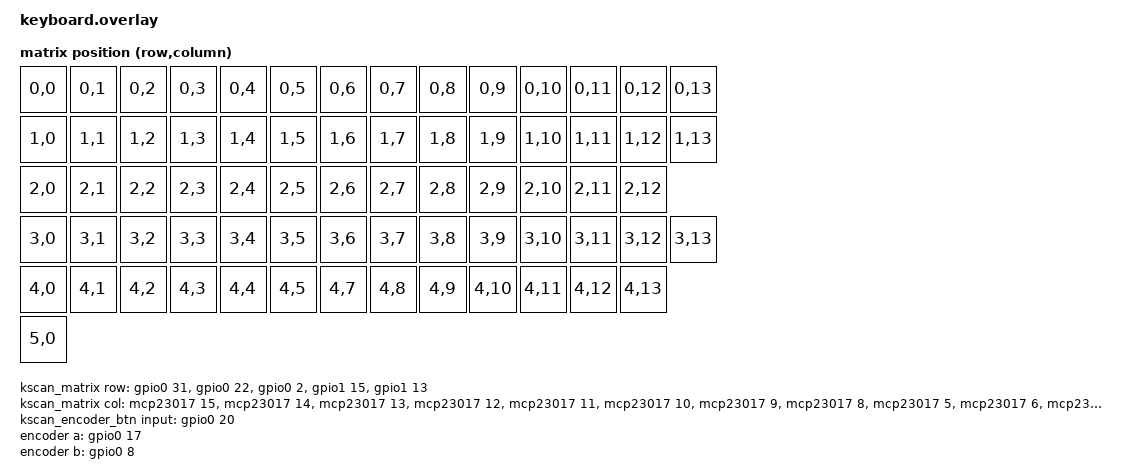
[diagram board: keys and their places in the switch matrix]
#include <dt-bindings/zmk/matrix_transform.h>
#include "keyboard-layouts.dtsi"  /* PRD §11 step 10: ZMK Studio physical layout */

/* PRD §11 step 2: real 5x14 matrix.
 * Rows are nRF GPIO inputs; columns are MCP23017 outputs driven over I2C.
 * Diode direction is col2row (verified from the PCB: each diode's cathode sits
 * on the ROW net, anode on the switch/column side -> current flows col->row).
 * Keeping the row inputs on the nRF lets GPIO sense wake the MCU from deep
 * sleep; the MCP23017 INT line is not wired to the nRF, so the expander must
 * stay on the output (strobe) side.
 *
 * PRD §11 step 5: EC11E encoder added.
 * - Rotation sensor: alps,ec11 on P0.17 (A) / P0.08 (B), steps=60
 * - Push button:     zmk,kscan-gpio-direct on P0.20 (active-low + pull-up)
 * - The matrix (rows 0-4) and push button (row 5) are merged via
 *   zmk,kscan-composite; the composite becomes the chosen zmk,kscan.
 * - Matrix transform gains a 69th key: RC(5,0) = encoder push.           */

/* ── UART0 pinctrl override ──────────────────────────────────────────────────
 * The board default uart0_default pinctrl claims P0.08 (UART_RX) and P0.06
 * (UART_TX) — P0.08 is our encoder B pin and P0.17 is our encoder A pin.
 * UART0 is disabled (no status="okay"), but its pinctrl state is still
 * registered and can prevent GPIO interrupt configuration on those pins.
 * Remap to internally unused pins so the encoder's GPIO interrupts work.    */
&uart0_default {
    group1 {
        psels = <NRF_PSEL(UART_RX, 0, 25)>;   /* dummy — not routed */
        bias-pull-up;
    };
    group2 {
        psels = <NRF_PSEL(UART_TX, 0, 25)>;   /* dummy — not routed */
    };
};

&uart0_sleep {
    group1 {
        psels = <NRF_PSEL(UART_RX, 0, 25)>,
                <NRF_PSEL(UART_TX, 0, 25)>;
        low-power-enable;
    };
};

/* ── SPI1 pinctrl override ────────────────────────────────────────────────────
 * The board's default spi1 pinctrl (SCK=P1.13, MOSI=P0.10, MISO=P1.11) uses
 * pins that are all occupied in this design (P1.13=ROW5, P0.10=nice!view SCK,
 * P1.11=nice!view MOSI). Override to our actual PCB wiring:
 *   MOSI = P1.11 (pad 22)   SCK = P0.10 (pad 23)   CS = P0.09 (pad 24, GPIO)
 * MISO is not connected (display is write-only). P0.25 is an internal nRF pin
 * not routed to any nice!nano pad; it is used here as a harmless dummy MISO so
 * the driver is satisfied without leaving the field empty.                   */
&spi1_default {
    group1 {
        psels = <NRF_PSEL(SPIM_MOSI, 1, 11)>,
                <NRF_PSEL(SPIM_SCK,  0, 10)>,
                <NRF_PSEL(SPIM_MISO, 0, 25)>;
    };
};

&spi1_sleep {
    group1 {
        psels = <NRF_PSEL(SPIM_MOSI, 1, 11)>,
                <NRF_PSEL(SPIM_SCK,  0, 10)>,
                <NRF_PSEL(SPIM_MISO, 0, 25)>;
        low-power-enable;
    };
};

/* Expose spi1 under the nice_view_spi alias that the nice_view shield requires.
 * Our keyboard.zmk.yml exposes [nice_view_header] so no adapter shield is needed.
 * CS is managed by the SPI controller via gpio: P0.09 (pad 24), active-high.  */
nice_view_spi: &spi1 {
    status = "okay";
    cs-gpios = <&gpio0 9 GPIO_ACTIVE_HIGH>;
};

/* ── I2C0 pinctrl override ───────────────────────────────────────────────────
 * Override the board's default I2C0 pins (P0.17/P0.20) so the encoder can use
 * those pins later. Hardware routes I2C to P1.07 (SDA) / P1.02 (SCL). No
 * external pull-ups on the bus, so enable the nRF internal ones. These extend
 * the existing board pinctrl states by label, replacing their psels.         */
&i2c0_default {
    group1 {
        psels = <NRF_PSEL(TWIM_SDA, 1, 7)>, <NRF_PSEL(TWIM_SCL, 1, 2)>;
        bias-pull-up;
    };
};

&i2c0_sleep {
    group1 {
        psels = <NRF_PSEL(TWIM_SDA, 1, 7)>, <NRF_PSEL(TWIM_SCL, 1, 2)>;
        low-power-enable;
    };
};

&i2c0 {
    status = "okay";
    /* Fast mode, 400 kHz — measured on this board, not assumed.
     *
     * A runtime sweep (debug/i2c_scan_timing.c, since removed) compared both
     * speeds on this hardware and found 400 kHz completely clean: 0 write
     * errors, 0 read errors and 0 mismatches across 300 write/read-back round
     * trips, identical to 100 kHz. Per-port-write cost fell 513 us -> 196 us,
     * taking a full 14-column scan from 14.36 ms to 5.49 ms (2.6x).
     *
     * That is worth recording because fast mode is technically OUT OF SPEC
     * here: the board has no external I2C pull-ups (the BOM contains zero
     * resistors; PRD §2.3 states it outright), so SDA/SCL rise on the nRF's
     * internal ~13k pull-ups at roughly 470 ns against the 300 ns fast mode
     * requires. The short trace evidently carries it anyway, but the margin is
     * empirical, not guaranteed by the numbers. If this board ever misbehaves
     * on the bus, drop to <250000> (in spec) before suspecting anything else;
     * fitting 4.7k pull-ups from C1 pad 1 to U2 pads 12/13 would restore
     * proper margin at 400 kHz.
     *
     * Note the gain is bounded well below the 4x clock ratio: of the 513 us at
     * 100 kHz only ~380 us is bus time, the rest being fixed TWIM setup,
     * semaphore and context-switch overhead per transaction, which does not
     * scale with clock. At 400 kHz that fixed cost is over half of each
     * transaction. */
    clock-frequency = <400000>;

    mcp23017: mcp23017@20 {
        compatible = "microchip,mcp230xx";
        status = "okay";
        gpio-controller;
        reg = <0x20>;
        #gpio-cells = <2>;
        ngpios = <16>;
    };
};

/ {
    chosen {
        zmk,kscan = &kscan0;
        /* Step 10: use physical-layout (which carries the transform) so
         * ZMK Studio can expose the key map for live editing.             */
        zmk,physical-layout = &default_layout;
    };

    /* ── Key matrix (rows 0-4 of the composite) ──────────────────────────── */

    /* Renamed from kscan0; now a sub-scanner inside the composite.
     * wakeup-source stays here so the composite can propagate it to this
     * child and the nRF row GPIOs can still trigger deep-sleep wake. */
    kscan_matrix: kscan_matrix {
        compatible = "zmk,kscan-gpio-matrix";
        diode-direction = "col2row";
        wakeup-source;

        /* ── Scan timing ──────────────────────────────────────────────────────
         * These were previously unset, inheriting the binding defaults, which
         * is what caused rapid double-taps to merge into single keystrokes.
         *
         * The driver does NOT measure elapsed time. It feeds the debouncer the
         * configured debounce-scan-period-ms as its elapsed_ms
         * (kscan_gpio_matrix.c:247), so thresholds are really counted in whole
         * scans:
         *
         *     scans_to_latch  = ceil(threshold / scan-period) + 1   (0 -> 1)
         *     real_debounce   = scans_to_latch x actual_scan_duration
         *
         * A full 14-column scan is 28 I2C transactions and measures 5.49 ms at
         * 400 kHz. Defaults (scan-period 1, threshold 4) meant 5 scans, i.e.
         * ~72 ms of real debounce in each direction at the old 100 kHz scan
         * rate -- longer than the gap between two fast taps, so the release was
         * never observed and the pair collapsed into one keystroke. These
         * values give 2 scans, about 11 ms, a 6.5x reduction.                */

        /* At or above the measured 5.49 ms scan. This is load-bearing beyond
         * debounce scaling: read_continue() advances a scan_time counter by
         * this amount and reschedules with K_TIMEOUT_ABS_MS, so setting it
         * below the true scan duration makes the deadline fall permanently
         * into the past, the work item re-fire immediately, and the board scan
         * back-to-back at 100% bus duty forever. That is what it was doing. */
        debounce-scan-period-ms = <6>;

        /* ceil(1/6)+1 = 2 scans ~= 11 ms. Any threshold from 1 to 6 collapses
         * to the same 2 scans at this scan period; 1 states the intent most
         * plainly. Two scans means the level must hold across two samples
         * 6 ms apart, comfortably longer than MX bounce (1-5 ms), while
         * staying far below the ~40-90 ms gap of a fast double-tap.          */
        debounce-press-ms   = <1>;
        debounce-release-ms = <1>;

        /* Gap after the last key releases before scanning resumes. Must also
         * stay at or above the scan duration or the drift above returns, so
         * the usable range here is ~6 (91% duty) to ~15 (37% duty).
         *
         * Less dangerous than it looks, which is what frees it up as the
         * battery knob: a tap is only lost if the whole press AND release fit
         * inside this window, and human contact time is ~30-60 ms. The
         * constraint that was actually being violated was the debounce window
         * versus the inter-tap gap, handled above. 10 ms gives ~55% bus duty,
         * already better than the ~100% the board was running at.            */
        poll-period-ms = <10>;

        /* Outputs (strobe), on the MCP23017. GPA0..7 = 0..7, GPB0..7 = 8..15. */
        col-gpios
            = <&mcp23017 15 GPIO_ACTIVE_HIGH>   /* COL1  GPB7 */
            , <&mcp23017 14 GPIO_ACTIVE_HIGH>   /* COL2  GPB6 */
            , <&mcp23017 13 GPIO_ACTIVE_HIGH>   /* COL3  GPB5 */
            , <&mcp23017 12 GPIO_ACTIVE_HIGH>   /* COL4  GPB4 */
            , <&mcp23017 11 GPIO_ACTIVE_HIGH>   /* COL5  GPB3 */
            , <&mcp23017 10 GPIO_ACTIVE_HIGH>   /* COL6  GPB2 */
            , <&mcp23017  9 GPIO_ACTIVE_HIGH>   /* COL7  GPB1 */
            , <&mcp23017  8 GPIO_ACTIVE_HIGH>   /* COL8  GPB0 */
            , <&mcp23017  5 GPIO_ACTIVE_HIGH>   /* COL9  GPA5 (swapped: PCB routes COL9-10 to GPA5-6) */
            , <&mcp23017  6 GPIO_ACTIVE_HIGH>   /* COL10 GPA6 */
            , <&mcp23017  7 GPIO_ACTIVE_HIGH>   /* COL11 GPA7 (swapped: PCB routes COL11 to GPA7) */
            , <&mcp23017  4 GPIO_ACTIVE_HIGH>   /* COL12 GPA4 */
            , <&mcp23017  3 GPIO_ACTIVE_HIGH>   /* COL13 GPA3 (swapped: PCB routes COL13 to GPA3) */
            , <&mcp23017  2 GPIO_ACTIVE_HIGH>   /* COL14 GPA2 */
            ;

        /* Inputs (sense), on the nRF. */
        row-gpios
            = <&gpio0 31 (GPIO_ACTIVE_HIGH | GPIO_PULL_DOWN)>   /* ROW1 P0.31 */
            , <&gpio0 22 (GPIO_ACTIVE_HIGH | GPIO_PULL_DOWN)>   /* ROW2 P0.22 */
            , <&gpio0  2 (GPIO_ACTIVE_HIGH | GPIO_PULL_DOWN)>   /* ROW3 P0.02 */
            , <&gpio1 15 (GPIO_ACTIVE_HIGH | GPIO_PULL_DOWN)>   /* ROW4 P1.15 */
            , <&gpio1 13 (GPIO_ACTIVE_HIGH | GPIO_PULL_DOWN)>   /* ROW5 P1.13 */
            ;
    };

    /* ── Encoder push button (row 5 of the composite) ────────────────────── */

    /* EC11E push switch S1 on P0.20; S2 tied to GND → active-low. */
    kscan_encoder_btn: kscan_encoder_btn {
        compatible = "zmk,kscan-gpio-direct";
        input-gpios = <&gpio0 20 (GPIO_ACTIVE_LOW | GPIO_PULL_UP)>;

        /* PRD v2 §1: deep-sleep wake source. P0.20 is a native nRF GPIO with
         * no I2C expander in the path, so it is interrupt-capable and can wake
         * the SoC from deep sleep — unlike the matrix, whose columns run
         * through the MCP23017 and force polled scanning. Zephyr's PM model
         * requires wakeup-source on the specific wake-capable device; the
         * parent composite declaring it does not confer it on this child.
         * Press wakes; rotation does not (the encoder node is separate). */
        wakeup-source;
    };

    /* ── Composite kscan (chosen zmk,kscan) ──────────────────────────────── */

    /* Merges the 5-row matrix and the 1-key encoder push button.
     * row-offset=5 places the push button at RC(5,0) in the transform.
     * wakeup-source here enables PM wakeup propagation to capable children. */
    kscan0: kscan0 {
        compatible = "zmk,kscan-composite";
        rows = <6>;
        columns = <14>;
        wakeup-source;

        matrix {
            kscan = <&kscan_matrix>;
        };

        encoder_btn {
            kscan = <&kscan_encoder_btn>;
            row-offset = <5>;
        };
    };

    /* ── EC11E rotary encoder ─────────────────────────────────────────────── */

    /* PRD §2.6: A=P0.17 (pad 5), B=P0.08 (pad 2), steps=60 (60 quadrature
     * transitions per revolution; 30 detents × 2 transitions/detent).
     * Internal pull-ups required — no external pull-ups on PCB.
     * triggers-per-rotation=30 in the sensors node → one action per detent. */
    encoder: encoder {
        compatible = "alps,ec11";
        a-gpios = <&gpio0 17 (GPIO_ACTIVE_HIGH | GPIO_PULL_UP)>;
        b-gpios = <&gpio0  8 (GPIO_ACTIVE_HIGH | GPIO_PULL_UP)>;
        steps = <60>;
        status = "okay";
    };

    sensors: sensors {
        compatible = "zmk,keymap-sensors";
        sensors = <&encoder>;
        triggers-per-rotation = <30>;   /* 30 detents/rev → one trigger per click */
    };

    /* ── Matrix transform (68 switch keys + 1 encoder push = 69 total) ───── */

    default_transform: default_transform {
        compatible = "zmk,matrix-transform";
        columns = <14>;
        rows = <6>;   /* 5 matrix rows + 1 virtual row for encoder push */

        /* Row 3 omits COL14 and row 5 omits COL7 (physical gaps, PRD §3).
         * Row 6 (index 5) has one key: the encoder push button at RC(5,0). */
        map = <
RC(0,0) RC(0,1) RC(0,2) RC(0,3) RC(0,4) RC(0,5) RC(0,6) RC(0,7) RC(0,8) RC(0,9) RC(0,10) RC(0,11) RC(0,12) RC(0,13)
RC(1,0) RC(1,1) RC(1,2) RC(1,3) RC(1,4) RC(1,5) RC(1,6) RC(1,7) RC(1,8) RC(1,9) RC(1,10) RC(1,11) RC(1,12) RC(1,13)
RC(2,0) RC(2,1) RC(2,2) RC(2,3) RC(2,4) RC(2,5) RC(2,6) RC(2,7) RC(2,8) RC(2,9) RC(2,10) RC(2,11) RC(2,12)
RC(3,0) RC(3,1) RC(3,2) RC(3,3) RC(3,4) RC(3,5) RC(3,6) RC(3,7) RC(3,8) RC(3,9) RC(3,10) RC(3,11) RC(3,12) RC(3,13)
RC(4,0) RC(4,1) RC(4,2) RC(4,3) RC(4,4) RC(4,5) RC(4,7) RC(4,8) RC(4,9) RC(4,10) RC(4,11) RC(4,12) RC(4,13)
RC(5,0)
        >;
    };
};
